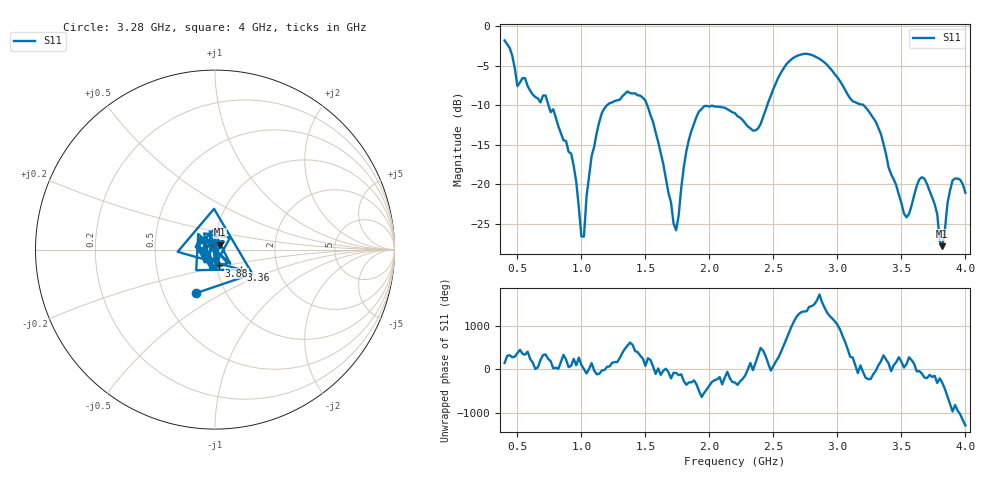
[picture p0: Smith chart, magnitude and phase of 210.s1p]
!Created with skrf (http://scikit-rf.org).
# Hz S RI R 50.0
!freq ReS11 ImS11
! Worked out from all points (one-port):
!   181 points, 400 MHz to 4 GHz, reference 50 ohm
!   lowest |S11| = -27.8 dB at 3.82 GHz (marker M1), VSWR 1.08, Z = 53 + j2.95 ohm
!   |S11| at or under -10 dB: 742.8 MHz to 1.199 GHz (456.5 MHz wide, 47 % of centre); 1.514 GHz to 2.452 GHz (937.2 MHz wide, 47.3 % of centre); 3.205 GHz to end of sweep
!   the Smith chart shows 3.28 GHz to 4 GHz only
!   S11 on the Smith chart (normalised r, x): 3.28 GHz: 0.73, -0.38; 3.36 GHz: 1.29, -0.30; 3.88 GHz: 1.03, -0.18; 4 GHz: 0.86, +0.09
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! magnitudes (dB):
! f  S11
! 400 MHz  -1.8
! 500 MHz  -7.6
! 720 MHz  -8.8
! 860 MHz  -14.4
! 920 MHz  -16.1
! 1 GHz  -26.6
! 1.02 GHz  -26.6
! 1.08 GHz  -16.4
! 1.14 GHz  -12.1
! 1.3 GHz  -9.3
! 1.5 GHz  -9.4
! 1.64 GHz  -17.4
! 1.72 GHz  -24.9
! 1.76 GHz  -23.9
! 1.82 GHz  -15.8
! 1.92 GHz  -10.8
! 2.2 GHz  -11.0
! 2.38 GHz  -12.9
! 2.66 GHz  -4.0
! 2.88 GHz  -4.3
! 3.1 GHz  -9.1
! 3.28 GHz  -11.6
! 3.36 GHz  -14.9
! 3.56 GHz  -23.7
! 3.68 GHz  -19.3
! 3.82 GHz  -27.8
! 3.88 GHz  -20.8
! 4 GHz  -21.1
